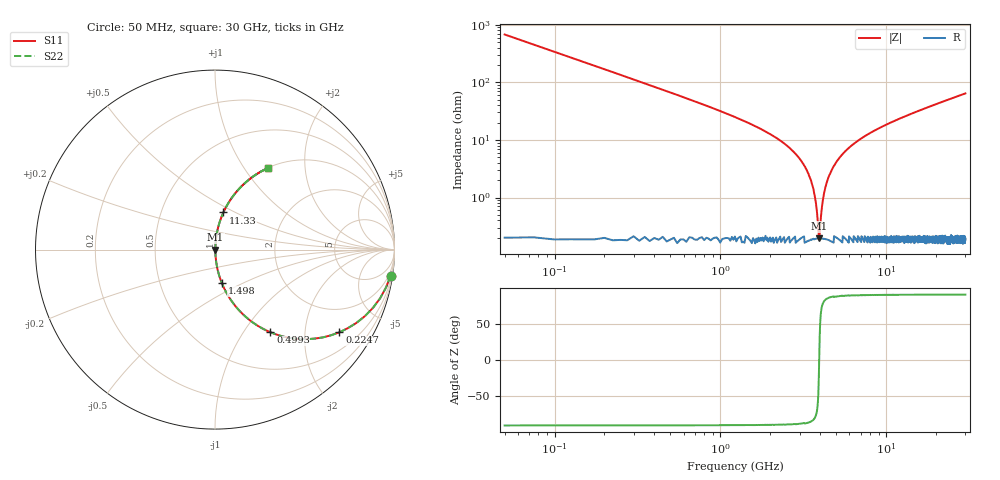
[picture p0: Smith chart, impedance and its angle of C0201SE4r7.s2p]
!	AVX Thin Film Operation 	Date: April 2014
!	Description: Accu-P® Series, Thin Film  SMD RF Capacitor
!	Part Number: 02013K4R7ABSTR
# MHZ S MA R 50
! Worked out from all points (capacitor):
!   1201 points, 50 MHz to 30 GHz, reference 50 ohm
!   read as one part in series: C = 4.7 pF near 199.8 MHz
!   lowest |Z| = 195 mohm at 3.943 GHz (marker M1)
!   series resonance near 3.941 GHz, so ESL is about 350 pH
!   S11 on the Smith chart (normalised r, x): 50 MHz: 1, -14; 224.7 MHz: 1.00, -3.00; 499.2 MHz: 1.00, -1.33; 1.498 GHz: 1.00, -0.39; 11.33 GHz: 1.00, +0.43; 30 GHz: 1.00, +1.29
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50  0.989 -8.4  0.146 81.6  0.146 81.6  0.989 -8.4
224.708  0.832 -33.6  0.554 56.3  0.554 56.3  0.832 -33.6
324.542  0.719 -43.9  0.694 46.0  0.694 46.0  0.719 -43.9
499.25  0.554 -56.2  0.831 33.7  0.831 33.7  0.554 -56.2
873.625  0.345 -69.5  0.937 20.2  0.937 20.2  0.345 -69.5
1497.583  0.19 -78.5  0.98 10.9  0.98 10.9  0.19 -78.5
2620.708  0.072 -84.4  0.996 4.1  0.996 4.1  0.072 -84.4
3244.667  0.034 -84.9  0.998 1.9  0.998 1.9  0.034 -84.9
3594.083  0.016 -82.3  0.998 0.9  0.998 0.9  0.016 -82.3
3843.667  0.004686 -66.0  0.998 0.2  0.998 0.2  0.004686 -66.0
3943.5  0.00189 3.3  0.998 -0.0  0.998 -0.0  0.00189 3.3
4043.333  0.004785 66.5  0.998 -0.3  0.998 -0.3  0.004785 66.5
4218.042  0.012 80.1  0.998 -0.7  0.998 -0.7  0.012 80.1
4392.75  0.019 83.2  0.998 -1.1  0.998 -1.1  0.019 83.2
5041.667  0.043 85.0  0.997 -2.4  0.997 -2.4  0.043 85.0
6788.75  0.097 83.3  0.993 -5.6  0.993 -5.6  0.097 83.3
10058.29  0.182 78.9  0.981 -10.5  0.981 -10.5  0.182 78.9
11331.17  0.212 77.3  0.975 -12.2  0.975 -12.2  0.212 77.3
15025  0.291 72.7  0.955 -16.9  0.955 -16.9  0.291 72.7
20016.67  0.386 67.0  0.921 -22.7  0.921 -22.7  0.386 67.0
25033.29  0.469 61.8  0.881 -28.0  0.881 -28.0  0.469 61.8
30000  0.54 57.1  0.84 -32.7  0.84 -32.7  0.54 57.1
